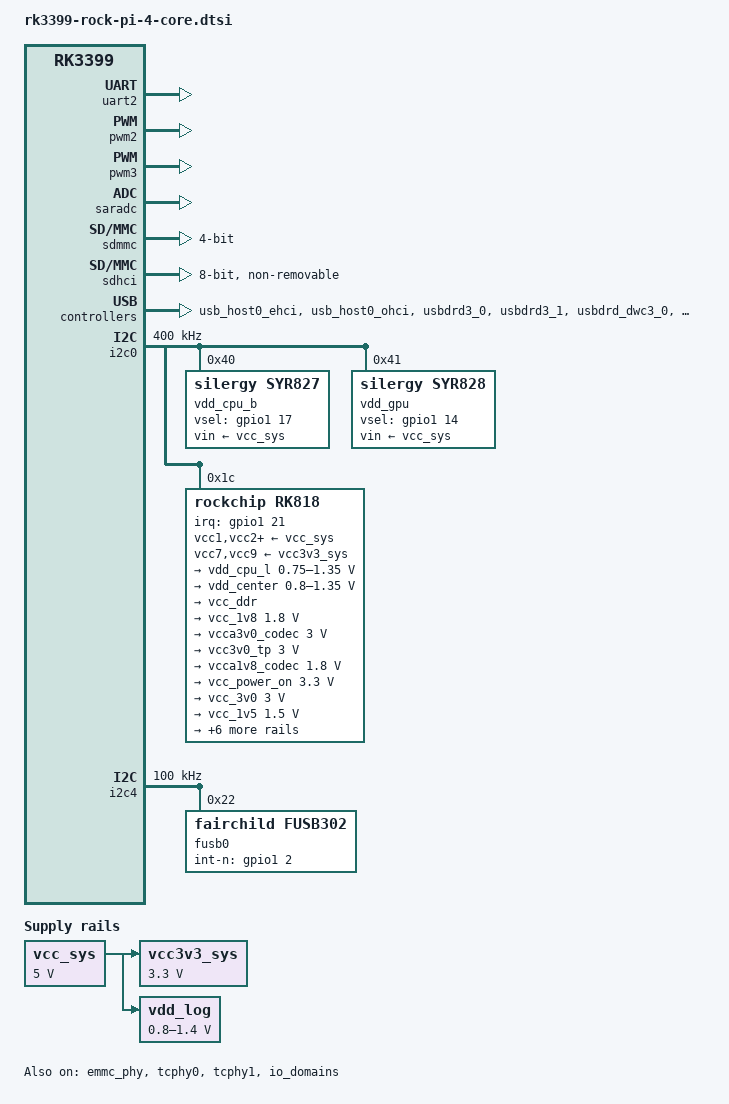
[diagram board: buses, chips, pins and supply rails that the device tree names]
/*
 * (C) Copyright 2016 Rockchip Electronics Co., Ltd
 * (C) Copyright 2024 Radxa Computer (Shenzhen) Co., Ltd.
 *
 * SPDX-License-Identifier:     GPL-2.0+
 */

#include <dt-bindings/pwm/pwm.h>
#include <dt-bindings/pinctrl/rockchip.h>
#include "rk3399.dtsi"
#include "rk3399-sdram-lpddr3-4GB-1600.dtsi"
#include "rk3399-u-boot.dtsi"
#include <linux/media-bus-format.h>
#include <dt-bindings/input/input.h>

/ {
	vcc_sys: vcc-sys {
		compatible = "regulator-fixed";
		regulator-name = "vcc_sys";
		regulator-min-microvolt = <5000000>;
		regulator-max-microvolt = <5000000>;
		regulator-always-on;
		regulator-boot-on;
	};

	vcc3v3_sys: vcc3v3-sys {
		compatible = "regulator-fixed";
		regulator-name = "vcc3v3_sys";
		regulator-min-microvolt = <3300000>;
		regulator-max-microvolt = <3300000>;
		regulator-always-on;
		regulator-boot-on;
		vin-supply = <&vcc_sys>;
	};

	vdd_log: vdd-log {
		compatible = "pwm-regulator";
		pwms = <&pwm2 0 25000 1>;
		regulator-name = "vdd_log";
		regulator-min-microvolt = <800000>;
		regulator-max-microvolt = <1400000>;
		regulator-always-on;
		regulator-boot-on;

		/* for rockchip boot on */
		rockchip,pwm_id = <2>;
		rockchip,pwm_voltage = <900000>;

		vin-supply = <&vcc_sys>;
	};
};

&uart2 {
	status = "okay";
};

&emmc_phy {
	status = "okay";
};

&pwm2 {
	status = "okay";
};

&pwm3 {
	status = "okay";
};

&saradc {
	status = "okay";
};

&sdmmc {
	bus-width = <4>;
	status = "okay";
};

&sdhci {
	bus-width = <8>;
	mmc-hs200-1_8v;
	non-removable;
	status = "okay";
};

&tcphy0 {
	status = "okay";
};

&tcphy1 {
	status = "okay";
};

&usb_host0_ehci {
	status = "okay";
};

&usb_host0_ohci {
	status = "okay";
};

&usbdrd3_0 {
	status = "okay";
};

&usbdrd3_1 {
	status = "okay";
};

&usbdrd_dwc3_0 {
	status = "okay";
};

&usbdrd_dwc3_1 {
	status = "okay";
};

&usb_host1_ehci {
	status = "okay";
};

&usb_host1_ohci {
	status = "okay";
};

&i2c0 {
	status = "okay";
	i2c-scl-rising-time-ns = <168>;
	i2c-scl-falling-time-ns = <4>;
	clock-frequency = <400000>;

	vdd_cpu_b: syr827@40 {
		compatible = "silergy,syr827";
		reg = <0x40>;
		regulator-compatible = "fan53555-reg";
		pinctrl-0 = <&vsel1_gpio>;
		vsel-gpios = <&gpio1 17 GPIO_ACTIVE_HIGH>;
		regulator-name = "vdd_cpu_b";
		regulator-min-microvolt = <712500>;
		regulator-max-microvolt = <1500000>;
		regulator-ramp-delay = <1000>;
		fcs,suspend-voltage-selector = <1>;
		regulator-always-on;
		regulator-boot-on;
		vin-supply = <&vcc_sys>;
		regulator-state-mem {
			regulator-off-in-suspend;
		};
	};

	vdd_gpu: syr828@41 {
		compatible = "silergy,syr828";
		reg = <0x41>;
		regulator-compatible = "fan53555-reg";
		pinctrl-0 = <&vsel2_gpio>;
		vsel-gpios = <&gpio1 14 GPIO_ACTIVE_HIGH>;
		regulator-name = "vdd_gpu";
		regulator-min-microvolt = <712500>;
		regulator-max-microvolt = <1500000>;
		regulator-ramp-delay = <1000>;
		fcs,suspend-voltage-selector = <1>;
		regulator-always-on;
		regulator-boot-on;
		vin-supply = <&vcc_sys>;
		regulator-initial-mode = <1>; /* 1:force PWM 2:auto */
		regulator-state-mem {
			regulator-off-in-suspend;
		};
	};

	rk818: pmic@1c {
		compatible = "rockchip,rk818";
		status = "okay";
		reg = <0x1c>;
		clock-output-names = "rk818-clkout1", "wifibt_32kin";
		interrupt-parent = <&gpio1>;
		interrupts = <21 IRQ_TYPE_LEVEL_LOW>;
		pinctrl-names = "default";
		pinctrl-0 = <&pmic_int_l>;
		rockchip,system-power-controller;
		rk818,support_dc_chg = <1>;/*1: dc chg; 0:usb chg*/
		wakeup-source;
		extcon = <&fusb0>;
		#clock-cells = <1>;

		vcc1-supply = <&vcc_sys>;
		vcc2-supply = <&vcc_sys>;
		vcc3-supply = <&vcc_sys>;
		vcc4-supply = <&vcc_sys>;
		vcc6-supply = <&vcc_sys>;
		vcc7-supply = <&vcc3v3_sys>;
		vcc8-supply = <&vcc_sys>;
		vcc9-supply = <&vcc3v3_sys>;

		regulators {
			vdd_cpu_l: DCDC_REG1 {
				regulator-name = "vdd_cpu_l";
				regulator-always-on;
				regulator-boot-on;
				regulator-min-microvolt = <750000>;
				regulator-max-microvolt = <1350000>;
				regulator-ramp-delay = <6001>;
				regulator-state-mem {
					regulator-off-in-suspend;
				};
			};

			vdd_center: DCDC_REG2 {
				regulator-name = "vdd_center";
				regulator-always-on;
				regulator-boot-on;
				regulator-min-microvolt = <800000>;
				regulator-max-microvolt = <1350000>;
				regulator-ramp-delay = <6001>;
				regulator-state-mem {
					regulator-off-in-suspend;
				};
			};

			vcc_ddr: DCDC_REG3 {
				regulator-name = "vcc_ddr";
				regulator-always-on;
				regulator-boot-on;
				regulator-state-mem {
					regulator-on-in-suspend;
				};
			};

			vcc_1v8: DCDC_REG4 {
				regulator-name = "vcc_1v8";
				regulator-always-on;
				regulator-boot-on;
				regulator-min-microvolt = <1800000>;
				regulator-max-microvolt = <1800000>;
				regulator-state-mem {
					regulator-on-in-suspend;
					regulator-suspend-microvolt = <1800000>;
				};
			};

			vcca3v0_codec: LDO_REG1 {
				regulator-always-on;
				regulator-boot-on;
				regulator-min-microvolt = <3000000>;
				regulator-max-microvolt = <3000000>;
				regulator-name = "vcca3v0_codec";
				regulator-state-mem {
					regulator-off-in-suspend;
				};
			};

			vcc3v0_tp: LDO_REG2 {
				regulator-always-on;
				regulator-boot-on;
				regulator-min-microvolt = <3000000>;
				regulator-max-microvolt = <3000000>;
				regulator-name = "vcc3v0_tp";
				regulator-state-mem {
					regulator-off-in-suspend;
				};
			};

			vcca1v8_codec: LDO_REG3 {
				regulator-always-on;
				regulator-boot-on;
				regulator-min-microvolt = <1800000>;
				regulator-max-microvolt = <1800000>;
				regulator-name = "vcca1v8_codec";
				regulator-state-mem {
					regulator-off-in-suspend;
				};
			};

			vcc_power_on: LDO_REG4 {
				regulator-always-on;
				regulator-boot-on;
				regulator-min-microvolt = <3300000>;
				regulator-max-microvolt = <3300000>;
				regulator-name = "vcc_power_on";
				regulator-state-mem {
					regulator-on-in-suspend;
					regulator-suspend-microvolt = <3300000>;
				};
			};

			vcc_3v0: LDO_REG5 {
				regulator-always-on;
				regulator-boot-on;
				regulator-min-microvolt = <3000000>;
				regulator-max-microvolt = <3000000>;
				regulator-name = "vcc_3v0";
				regulator-state-mem {
					regulator-on-in-suspend;
					regulator-suspend-microvolt = <3000000>;
				};
			};

			vcc_1v5: LDO_REG6 {
				regulator-always-on;
				regulator-boot-on;
				regulator-min-microvolt = <1500000>;
				regulator-max-microvolt = <1500000>;
				regulator-name = "vcc_1v5";
				regulator-state-mem {
					regulator-on-in-suspend;
					regulator-suspend-microvolt = <1500000>;
				};
			};

			vcc1v8_dvp: LDO_REG7 {
				regulator-always-on;
				regulator-boot-on;
				regulator-min-microvolt = <1800000>;
				regulator-max-microvolt = <1800000>;
				regulator-name = "vcc1v8_dvp";
				regulator-state-mem {
					regulator-off-in-suspend;
				};
			};

			vcc3v3_s3: LDO_REG8 {
				regulator-always-on;
				regulator-boot-on;
				regulator-min-microvolt = <3300000>;
				regulator-max-microvolt = <3300000>;
				regulator-name = "vcc3v3_s3";
				regulator-state-mem {
					regulator-off-in-suspend;
				};
			};

			vcc_sd: LDO_REG9 {
				regulator-always-on;
				regulator-boot-on;
				regulator-min-microvolt = <1800000>;
				regulator-max-microvolt = <3000000>;
				regulator-name = "vcc_sd";
				regulator-state-mem {
					regulator-on-in-suspend;
					regulator-suspend-microvolt = <3000000>;
				};
			};

			vcc3v3_s0: SWITCH_REG {
				regulator-always-on;
				regulator-boot-on;
				regulator-name = "vcc3v3_s0";
				regulator-state-mem {
					regulator-on-in-suspend;
				};
			};

			boost_otg: DCDC_BOOST {
				regulator-name = "boost_otg";
				regulator-always-on;
				regulator-boot-on;
				regulator-min-microvolt = <5000000>;
				regulator-max-microvolt = <5000000>;
				regulator-state-mem {
					regulator-on-in-suspend;
					regulator-suspend-microvolt = <5000000>;
				};
			};

			otg_switch: OTG_SWITCH {
				regulator-name = "otg_switch";
			};
		};
	};
};

&i2c4 {
	status = "okay";
	clock-frequency = <100000>;

	fusb0: fusb30x@22 {
		compatible = "fairchild,fusb302";
		reg = <0x22>;
		pinctrl-names = "default";
		pinctrl-0 = <&fusb0_int>;

		int-n-gpios = <&gpio1 2 GPIO_ACTIVE_HIGH>;
		status = "okay";
	};
};

&pinctrl {
	pmic {
		pmic_int_l: pmic-int-l {
			rockchip,pins =
				<1 RK_PC5 RK_FUNC_GPIO &pcfg_pull_up>;
		};

		vsel1_gpio: vsel1-gpio {
			rockchip,pins =
				<1 17 RK_FUNC_GPIO &pcfg_pull_down>;
		};

		vsel2_gpio: vsel2-gpio {
			rockchip,pins =
				<1 14 RK_FUNC_GPIO &pcfg_pull_down>;
		};
	};

	fusb30x {
		fusb0_int: fusb0-int {
			rockchip,pins =
				<1 2 RK_FUNC_GPIO &pcfg_pull_up>;
		};
	};
};

&io_domains {
	status = "okay";

	bt656-supply = <&vcc_3v0>; /* bt656_gpio2ab_ms */
	audio-supply = <&vcc_1v8>; /* audio_gpio3d4a_ms */
	sdmmc-supply = <&vcc_sd>; /* sdmmc_gpio4b_ms */
	gpio1830-supply = <&vcc_3v0>; /* gpio1833_gpio4cd_ms */
};

&pmu_io_domains {
	status = "okay";
	pmu1830-supply = <&vcc_1v8>;
};
